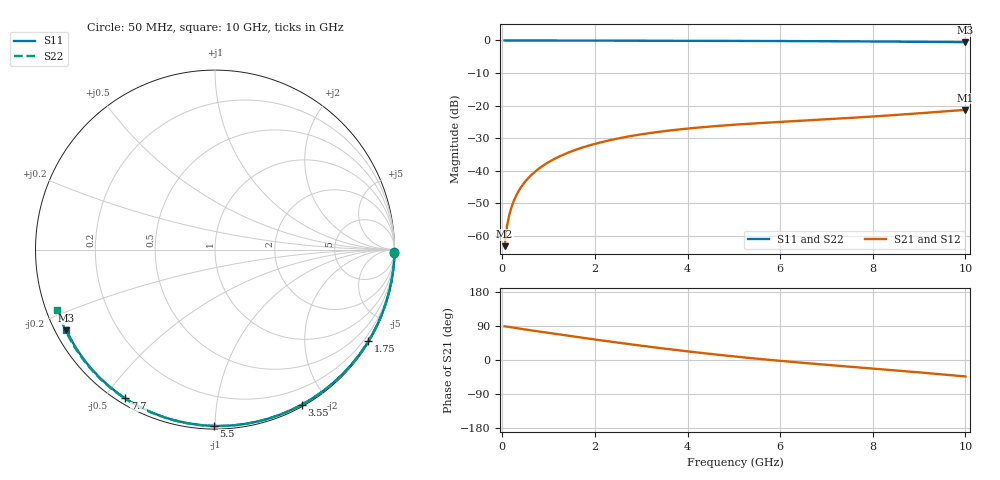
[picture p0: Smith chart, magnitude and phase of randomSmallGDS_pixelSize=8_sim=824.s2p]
! freq	dB(S11)	phase(S11)	dB(S12)	phase(S12)
!  dB(S21)	phase(S21)	dB(S22)	phase(S22)
!S-par simulation data
#  GHz  S  DB  R 50
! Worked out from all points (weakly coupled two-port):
!   200 points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, 50 MHz to 10 GHz, reference 50 ohm
!   highest |S21| = -21.29 dB at 10 GHz (marker M1); lowest = -63.1 dB at 50 MHz (marker M2)
!   lowest |S11| = -0.5 dB at 10 GHz (marker M3), VSWR 33.18, Z = 1.6 - j12.7 ohm
!   |S11| at or under -10 dB: nowhere
!   |S22| runs from -0.5 to 0.0 dB; largest |S21 - S12| = 0
!   S11 on the Smith chart (normalised r, x): 50 MHz: open; 1.75 GHz: 0.03, -3.63; 3.55 GHz: 0.02, -1.71; 5.5 GHz: 0.02, -0.99; 7.7 GHz: 0.02, -0.56; 10 GHz: 0.03, -0.25
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0.05  -0.00 -0.9  -63.14 89.0  -63.14 89.0  -0.00 -0.9
0.1  -0.00 -1.8  -57.12 88.0  -57.12 88.0  -0.00 -1.9
0.15  -0.00 -2.7  -53.61 87.1  -53.61 87.1  -0.00 -2.8
0.2  -0.00 -3.6  -51.12 86.1  -51.12 86.1  -0.00 -3.8
0.25  -0.00 -4.5  -49.19 85.1  -49.19 85.1  -0.00 -4.7
0.35  -0.00 -6.3  -46.29 83.3  -46.29 83.3  -0.00 -6.6
0.5  -0.01 -9.0  -43.23 80.5  -43.23 80.5  -0.01 -9.4
0.7  -0.01 -12.5  -40.36 76.9  -40.36 76.9  -0.01 -13.1
1  -0.02 -17.8  -37.35 71.5  -37.35 71.5  -0.02 -18.7
1.35  -0.03 -23.9  -34.86 65.4  -34.86 65.4  -0.03 -25.1
1.75  -0.04 -30.8  -32.78 58.4  -32.78 58.4  -0.04 -32.4
2.5  -0.06 -43.6  -30.08 45.8  -30.08 45.8  -0.06 -45.7
3.4  -0.08 -58.4  -28.01 31.6  -28.01 31.6  -0.09 -61.2
3.55  -0.09 -60.8  -27.74 29.4  -27.74 29.4  -0.09 -63.7
4.3  -0.11 -72.5  -26.65 18.7  -26.65 18.7  -0.11 -76.0
5.05  -0.14 -83.9  -25.82 8.9  -25.82 8.9  -0.14 -87.8
5.5  -0.16 -90.5  -25.41 3.5  -25.41 3.5  -0.16 -94.7
6.7  -0.22 -107.5  -24.43 -9.7  -24.43 -9.7  -0.23 -112.4
7.7  -0.29 -121.1  -23.60 -19.6  -23.60 -19.6  -0.30 -126.7
8.35  -0.34 -129.7  -23.01 -26.0  -23.01 -26.0  -0.36 -135.8
9.2  -0.43 -140.9  -22.15 -34.7  -22.15 -34.7  -0.45 -147.8
10  -0.52 -151.5  -21.29 -43.5  -21.29 -43.5  -0.55 -159.1
